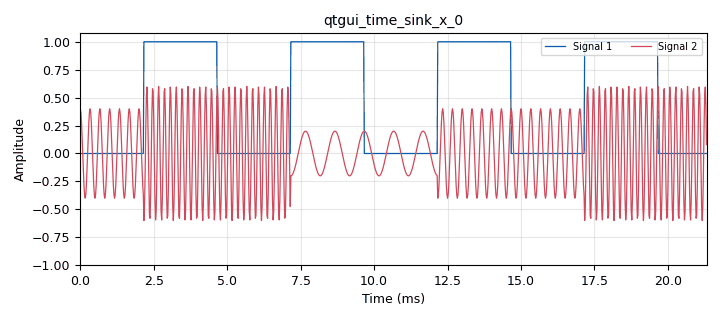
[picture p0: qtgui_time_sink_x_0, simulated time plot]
options:
  parameters:
    author: fkvd
    generate_options: qt_gui
    id: triggerSelector
    output_language: python
    title: Trigger Selector
  states: {}

blocks:
- name: samp_rate
  id: variable
  parameters:
    value: '48000'
  states: {}
- name: analog_sig_source_x_0
  id: analog_sig_source_x
  parameters:
    amp: '0.2'
    freq: '1000'
    offset: '0'
    phase: '0'
    samp_rate: samp_rate
    type: float
    waveform: analog.GR_COS_WAVE
  states: {}
- name: analog_sig_source_x_0_0
  id: analog_sig_source_x
  parameters:
    amp: '1'
    freq: '200'
    offset: '0'
    phase: '0'
    samp_rate: samp_rate
    type: float
    waveform: analog.GR_SQR_WAVE
  states: {}
- name: analog_sig_source_x_1
  id: analog_sig_source_x
  parameters:
    amp: '0.4'
    freq: '3000'
    offset: '0'
    phase: '0'
    samp_rate: samp_rate
    type: float
    waveform: analog.GR_COS_WAVE
  states: {}
- name: analog_sig_source_x_2
  id: analog_sig_source_x
  parameters:
    amp: '0.6'
    freq: '5000'
    offset: '0'
    phase: '0'
    samp_rate: samp_rate
    type: float
    waveform: analog.GR_COS_WAVE
  states: {}
- name: blocks_throttle2_0
  id: blocks_throttle2
  parameters:
    samples_per_second: samp_rate
    type: float
  states: {}
- name: epy_block_0
  id: epy_block
  parameters:
    _source_code: "import numpy as np\nfrom gnuradio import gr\n\nclass blk(gr.sync_block):\n\n\tdef __init__(self, number_Of_Inputs = 3):  # only default arguments here\n\t\tgr.sync_block.__init__(\n\t\tself,\n\t\tname='Trigger selector',\n\t\tin_sig=[np.float32 for x in range(number_Of_Inputs+1)],\n\t\tout_sig=[np.float32]\n\t\t)\n\t\t\n\t\tself.currentInputIndex = 1\n\t\tself.previous = 0.0;\n\t\tself.number_Of_Inputs = number_Of_Inputs;\n\n\t\t\n\n\tdef work(self, input_items, output_items):\n\t\t\n\t\tfor i in range(len(input_items[0])):\n\t\t\tif(input_items[0][i] == 1.0 and self.previous == 0.0):\n\t\t\t\t\n\t\t\t\tif(self.currentInputIndex != self.number_Of_Inputs):\n\t\t\t\t\tself.currentInputIndex = self.currentInputIndex + 1\n\t\t\t\telse:\n\t\t\t\t\tself.currentInputIndex = 1\n\n\t\t\t\toutput_items[0][i] = input_items[self.currentInputIndex][i]\n\t\t\t\tself.previous = 1.0\n\t\t\telif(input_items[0][i] == 1.0 and self.previous == 1.0):\n\t\t\t\toutput_items[0][i] = input_items[self.currentInputIndex][i]\n\t\t\t\tself.previous=1.0\n\t\t\telse:\n\t\t\t\toutput_items[0][i] = input_items[self.currentInputIndex][i]\n\t\t\t\tself.previous=0.0\n\n\t\treturn len(output_items[0])\n\t\n\t\n"
    number_Of_Inputs: '3'
  states: {}
- name: qtgui_time_sink_x_0
  id: qtgui_time_sink_x
  parameters:
    nconnections: '2'
    size: '1024'
    srate: samp_rate
    type: float
  states: {}

connections:
- [analog_sig_source_x_0, '0', epy_block_0, '1']
- [analog_sig_source_x_0_0, '0', blocks_throttle2_0, '0']
- [analog_sig_source_x_1, '0', epy_block_0, '2']
- [analog_sig_source_x_2, '0', epy_block_0, '3']
- [blocks_throttle2_0, '0', epy_block_0, '0']
- [blocks_throttle2_0, '0', qtgui_time_sink_x_0, '0']
- [epy_block_0, '0', qtgui_time_sink_x_0, '1']

metadata:
  file_format: 1
  grc_version: 3.10.6.0
